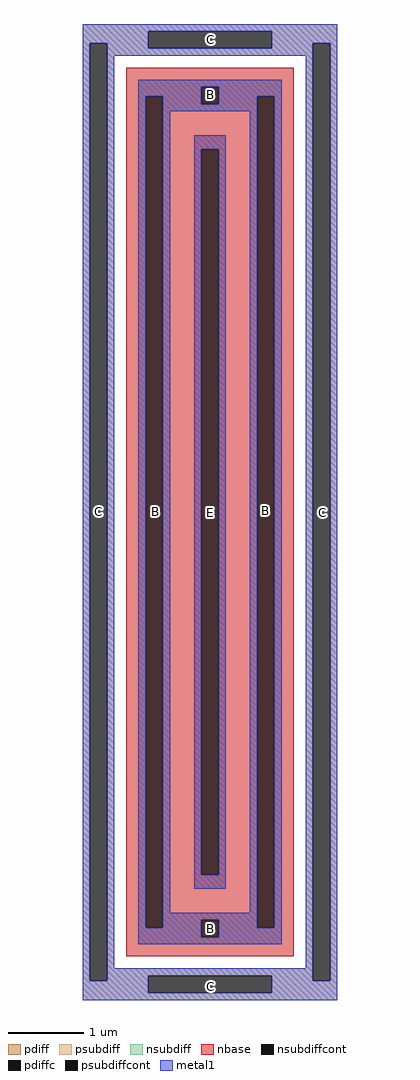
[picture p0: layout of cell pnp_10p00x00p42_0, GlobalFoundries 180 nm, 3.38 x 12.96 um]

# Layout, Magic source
magic
tech gf180mcuD
magscale 1 10
<< nbase >>
rect -222 -1180 222 1180
<< pdiff >>
rect -42 963 42 1000
rect -42 -963 -23 963
rect 23 -963 42 963
rect -42 -1000 42 -963
<< pdiffc >>
rect -23 -963 23 963
<< psubdiff >>
rect -338 1277 338 1296
rect -338 1245 -164 1277
rect -338 -1245 -319 1245
rect -273 1231 -164 1245
rect 164 1245 338 1277
rect 164 1231 273 1245
rect -273 1212 273 1231
rect -273 -1212 -254 1212
rect 254 -1212 273 1212
rect -273 -1231 273 -1212
rect -273 -1245 -164 -1231
rect -338 -1277 -164 -1245
rect 164 -1245 273 -1231
rect 319 -1245 338 1245
rect 164 -1277 338 -1245
rect -338 -1296 338 -1277
<< nsubdiff >>
rect -190 1129 190 1148
rect -190 1104 -23 1129
rect -190 -1104 -171 1104
rect -125 1083 -23 1104
rect 23 1104 190 1129
rect 23 1083 125 1104
rect -125 1064 125 1083
rect -125 -1064 -106 1064
rect 106 -1064 125 1064
rect -125 -1083 125 -1064
rect -125 -1104 -23 -1083
rect -190 -1129 -23 -1104
rect 23 -1104 125 -1083
rect 171 -1104 190 1104
rect 23 -1129 190 -1104
rect -190 -1148 190 -1129
<< psubdiffcont >>
rect -319 -1245 -273 1245
rect -164 1231 164 1277
rect -164 -1277 164 -1231
rect 273 -1245 319 1245
<< nsubdiffcont >>
rect -171 -1104 -125 1104
rect -23 1083 23 1129
rect -23 -1129 23 -1083
rect 125 -1104 171 1104
<< metal1 >>
rect -338 1277 338 1296
rect -338 1245 -164 1277
rect -338 -1245 -319 1245
rect -273 1231 -164 1245
rect 164 1245 338 1277
rect 164 1231 273 1245
rect -273 1212 273 1231
rect -273 -1212 -254 1212
rect -190 1129 190 1148
rect -190 1104 -23 1129
rect -190 -1104 -171 1104
rect -125 1083 -23 1104
rect 23 1104 190 1129
rect 23 1083 125 1104
rect -125 1064 125 1083
rect -125 -1064 -106 1064
rect -42 963 42 1000
rect -42 -963 -23 963
rect 23 -963 42 963
rect -42 -1000 42 -963
rect 106 -1064 125 1064
rect -125 -1083 125 -1064
rect -125 -1104 -23 -1083
rect -190 -1129 -23 -1104
rect 23 -1104 125 -1083
rect 171 -1104 190 1104
rect 23 -1129 190 -1104
rect -190 -1148 190 -1129
rect 254 -1212 273 1212
rect -273 -1231 273 -1212
rect -273 -1245 -164 -1231
rect -338 -1277 -164 -1245
rect 164 -1245 273 -1231
rect 319 -1245 338 1245
rect 164 -1277 338 -1245
rect -338 -1296 338 -1277
<< labels >>
flabel pdiffc 0 0 0 0 0 FreeSans 400 0 0 0 E
flabel nsubdiffcont 1 1108 1 1108 0 FreeSans 400 0 0 0 B
flabel nsubdiffcont 147 3 147 3 0 FreeSans 400 0 0 0 B
flabel nsubdiffcont 1 -1106 1 -1106 0 FreeSans 400 0 0 0 B
flabel nsubdiffcont -145 1 -145 1 0 FreeSans 400 0 0 0 B
flabel psubdiffcont 0 -1259 0 -1259 0 FreeSans 400 0 0 0 C
flabel psubdiffcont 300 -1 300 -1 0 FreeSans 400 0 0 0 C
flabel psubdiffcont 0 1256 0 1256 0 FreeSans 400 0 0 0 C
flabel psubdiffcont -295 2 -295 2 0 FreeSans 400 0 0 0 C
<< properties >>
string GDS_END 10818
string GDS_FILE $PDKPATH/libs.ref/gf180mcu_fd_pr/gds/pnp_10p00x00p42.gds
string GDS_START 112
string gencell pnp_10p00x00p42
string library gf180mcu
string parameter m=1
<< end >>
